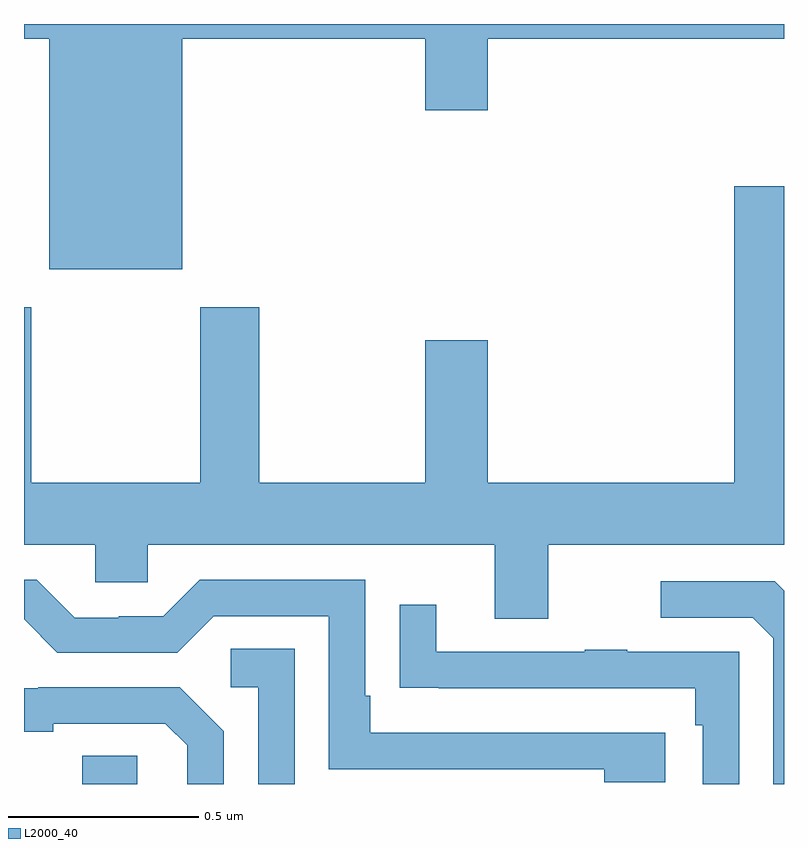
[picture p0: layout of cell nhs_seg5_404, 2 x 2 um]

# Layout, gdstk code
import gdstk
lib = gdstk.Library(unit=1e-6, precision=1e-09)
def R(c, l, rs):  # rectangles x0, y0, x1, y1
    for r in rs: c.add(gdstk.rectangle(r[:2], r[2:], *l))
def P(c, l, *ps):  # polygons
    for p in ps: c.add(gdstk.Polygon(p, *l))
L2000_40 = (2000, 40)

nhs_seg5_404 = lib.new_cell('nhs_seg5_404')
R(nhs_seg5_404, L2000_40, [(116.153,854.799,116.298,854.873)])
P(nhs_seg5_404, L2000_40, [(116.416,856.76),(117.056,856.76),(117.056,856.572),(117.22,856.572),(117.22,856.76),(118,856.76),(118,856.799),(116,856.799),(116,856.76),(116.066,856.76),(116.066,856.154),(116.416,856.154)],
  [(117.379,855.428),(118,855.428),(118,856.372),(117.869,856.372),(117.869,855.592),(117.22,855.592),(117.22,855.967),(117.056,855.967),(117.056,855.592),(116.619,855.592),(116.619,856.054),(116.464,856.054),(116.464,855.592),(116.019,855.592),(116.019,856.054),(116,856.054),(116,855.428),(116.187,855.428),(116.187,855.33),(116.325,855.33),(116.325,855.428),(117.239,855.428),(117.239,855.234),(117.379,855.234)],
  [(117.688,854.934),(116.911,854.934),(116.911,855.031),(116.898,855.031),(116.898,855.336),(116.463,855.336),(116.367,855.24),(116.249,855.24),(116.249,855.237),(116.133,855.237),(116.033,855.337),(116,855.337),(116,855.232),(116.088,855.144),(116.403,855.144),(116.499,855.24),(116.802,855.24),(116.802,854.838),(117.527,854.838),(117.527,854.804),(117.688,854.804)],
  [(118,855.308),(117.975,855.333),(117.675,855.333),(117.675,855.237),(117.918,855.237),(117.972,855.183),(117.972,854.799),(118,854.799)],
  [(117.882,855.147),(117.587,855.147),(117.587,855.152),(117.475,855.152),(117.475,855.147),(117.085,855.147),(117.085,855.271),(116.989,855.271),(116.989,855.052),(117.091,855.052),(117.091,855.051),(117.766,855.051),(117.766,854.954),(117.786,854.954),(117.786,854.799),(117.882,854.799)],
  [(116.712,855.155),(116.544,855.155),(116.544,855.054),(116.616,855.054),(116.616,854.799),(116.712,854.799)],
  [(116.526,854.938),(116.41,855.054),(116.038,855.054),(116.038,855.051),(116,855.051),(116,854.936),(116.077,854.936),(116.077,854.958),(116.372,854.958),(116.429,854.901),(116.429,854.799),(116.526,854.799)])

lib.write_gds('nhs_seg5_404.gds')
